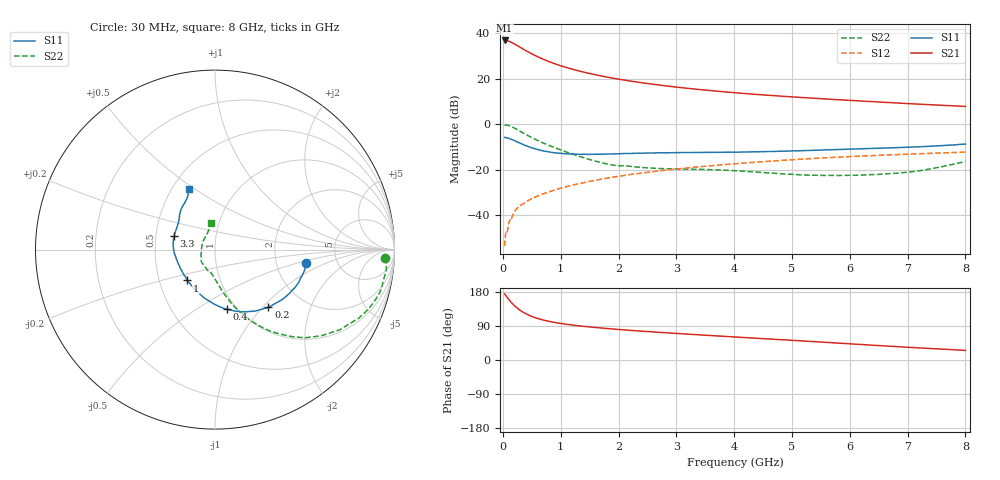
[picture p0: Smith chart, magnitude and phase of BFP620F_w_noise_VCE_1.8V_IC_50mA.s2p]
! Infineon Technologies  Discrete & RF Semiconductors
! BFP620F
! VCE =  1.8 V,  IC =  50 mA
! Common Emitter S-Parameters:  Dec 2014
# GHz  S  MA  R  50
!  f  S11  S21  S12  S22
! GHz  MAG  ANG  MAG  ANG  MAG  ANG  MAG  ANG
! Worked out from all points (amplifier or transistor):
!   95 points, 30 MHz to 8 GHz, reference 50 ohm
!   highest |S21| = 36.8 dB at 30 MHz (marker M1)
!   |S21| within 3 dB of that: start of sweep to 298.6 MHz
!   unconditionally stable (mu >= 1): 1.914 GHz to end of sweep
!   at 300 MHz: K = 0.49, MSG = 34.7 dB, |S12| = -35.7 dB
!   at 3.3 GHz: K = 1.03, MAG = 16.2 dB, |S12| = -18.9 dB
!   at 8 GHz: K = 1.05, MAG = 8.6 dB, |S12| = -12.2 dB
!   lowest NFmin = 1.55 dB at 450 MHz
!   S11 on the Smith chart (normalised r, x): 30 MHz: 2.99, -0.61; 200 MHz: 1.35, -1.08; 400 MHz: 0.90, -0.67; 1 GHz: 0.70, -0.25; 3.3 GHz: 0.62, +0.10; 8 GHz: 0.61, +0.47
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0.03  0.5152 -8.4  69.48 174.5  0.0021 84.2  0.9502 -2.8
0.07  0.5026 -18.1  68.67 166.2  0.004 73.5  0.9528 -11.0
0.11  0.4858 -27.9  65.97 158.2  0.0074 76.3  0.9297 -18.6
0.15  0.4653 -37.0  62.75 151.2  0.0086 75.9  0.8874 -25.5
0.2  0.4383 -47.2  58.05 143.4  0.0122 73.9  0.8256 -32.8
0.25  0.4104 -56.4  53.47 136.6  0.0144 74.5  0.7626 -39.0
0.3  0.3843 -64.6  49.07 130.9  0.0165 73.1  0.7023 -44.4
0.35  0.3597 -72.2  44.96 126.1  0.0178 70.8  0.6448 -48.7
0.4  0.3383 -79.0  41.38 121.8  0.0198 70.4  0.594 -52.4
0.5  0.3039 -90.7  35.3 115.0  0.0232 69.4  0.51 -58.6
0.6  0.2788 -101.3  30.54 109.7  0.0265 68.9  0.4417 -63.4
0.7  0.2598 -110.0  26.81 105.4  0.0297 69.1  0.3873 -67.3
0.8  0.2471 -118.1  23.79 102.0  0.0329 68.8  0.3426 -70.6
1  0.2305 -131.7  19.36 96.5  0.0395 69.0  0.2738 -76.1
1.4  0.2196 -152.1  13.98 88.8  0.0523 68.3  0.1845 -86.3
2  0.2248 -172.8  9.823 80.6  0.072 66.1  0.1216 -105.3
2.7  0.2358 171.8  7.292 73.1  0.0944 62.3  0.1067 -124.7
3.3  0.2406 161.8  5.979 67.3  0.1135 58.9  0.1026 -134.8
4.1  0.2452 150.2  4.837 60.0  0.1384 53.9  0.0941 -145.5
5.4  0.2689 137.6  3.72 48.2  0.1782 45.0  0.076 -177.0
6.7  0.3036 125.7  2.993 36.3  0.213 35.4  0.0824 139.9
8  0.368 113.5  2.473 25.3  0.2447 26.2  0.1518 97.5
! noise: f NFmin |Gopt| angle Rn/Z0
0.45  1.55  0.23  -171  0.17
0.9  1.58  0.23  -171  0.15
1.5  1.6  0.27  -155  0.1
1.8  1.61  0.27  -153  0.1
1.9  1.62  0.27  -151  0.1
2.4  1.63  0.27  214  0.11
3.5  1.71  0.28  221  0.13
5.5  1.82  0.32  252  0.22
6  1.84  0.32  261  0.28
